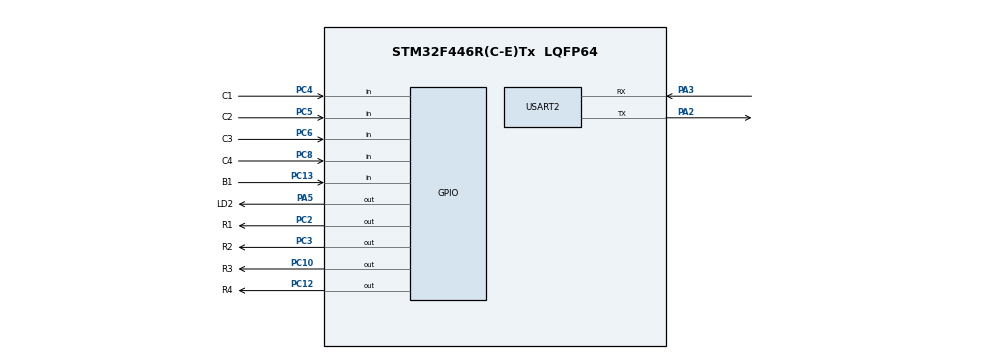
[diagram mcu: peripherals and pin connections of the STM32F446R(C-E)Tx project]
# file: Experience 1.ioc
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Mcu.Family=STM32F4
Mcu.Name=STM32F446R(C-E)Tx
Mcu.Package=LQFP64
NVIC.PriorityGroup=NVIC_PRIORITYGROUP_4
PA2.Mode=Asynchronous
PA2.Signal=USART2_TX
PA3.Mode=Asynchronous
PA3.Signal=USART2_RX
PA5.GPIO_Label=LD2
PA5.Signal=GPIO_Output
PC10.GPIO_Label=R3
PC10.Signal=GPIO_Output
PC12.GPIO_Label=R4
PC12.Signal=GPIO_Output
PC13.GPIO_Label=B1
PC13.Signal=GPIO_Input
PC2.GPIO_Label=R1
PC2.Signal=GPIO_Output
PC3.GPIO_Label=R2
PC3.Signal=GPIO_Output
PC4.GPIO_Label=C1
PC4.GPIO_PuPd=GPIO_PULLUP
PC4.Signal=GPIO_Input
PC5.GPIO_Label=C2
PC5.GPIO_PuPd=GPIO_PULLUP
PC5.Signal=GPIO_Input
PC6.GPIO_Label=C3
PC6.GPIO_PuPd=GPIO_PULLUP
PC6.Signal=GPIO_Input
PC8.GPIO_Label=C4
PC8.GPIO_PuPd=GPIO_PULLUP
PC8.Signal=GPIO_Input
ProjectManager.HeapSize=0x200
ProjectManager.StackSize=0x400
ProjectManager.TargetToolchain=MDK-ARM V5.32
RCC.CortexFreq_Value=16000000
RCC.USBFreq_Value=96000000
RCC.VCOOutputFreq_Value=192000000
USART2.VirtualMode=VM_ASYNC
board=custom

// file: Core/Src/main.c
/* USER CODE BEGIN Header */
/**
 ******************************************************************************
 * @file           : main.c
 * @brief          : Main program body
 ******************************************************************************
 * @attention
 *
 * Copyright (c) 2024 STMicroelectronics.
 * All rights reserved.
 *
 * This software is licensed under terms that can be found in the LICENSE file
 * in the root directory of this software component.
 * If no LICENSE file comes with this software, it is provided AS-IS.
 *
 ******************************************************************************
 */
/* USER CODE END Header */
#include "main.h"
#include "gpio.h"
#include "usart.h"

/* USER CODE BEGIN Includes */
#include "stdio.h"
/* USER CODE END Includes */

/* USER CODE BEGIN PTD */
// order matters here
enum Button {
  B1 = 0,
  B2,
  B3,
  BA,
  B4,
  B5,
  B6,
  BB,
  B7,
  B8,
  B9,
  BC,
  BSTAR,
  B0,
  BDASH,
  BD
};
/* USER CODE END PTD */

void SystemClock_Config(void);

/* USER CODE BEGIN 0 */
void selectRow(int r) {
  if (r == 1)
    HAL_GPIO_WritePin(R1_GPIO_Port, R1_Pin, GPIO_PIN_RESET);
  else
    HAL_GPIO_WritePin(R1_GPIO_Port, R1_Pin, GPIO_PIN_SET);
  if (r == 2)
    HAL_GPIO_WritePin(R2_GPIO_Port, R2_Pin, GPIO_PIN_RESET);
  else
    HAL_GPIO_WritePin(R2_GPIO_Port, R2_Pin, GPIO_PIN_SET);
  if (r == 3)
    HAL_GPIO_WritePin(R3_GPIO_Port, R3_Pin, GPIO_PIN_RESET);
  else
    HAL_GPIO_WritePin(R3_GPIO_Port, R3_Pin, GPIO_PIN_SET);
  if (r == 4)
    HAL_GPIO_WritePin(R4_GPIO_Port, R4_Pin, GPIO_PIN_RESET);
  else
    HAL_GPIO_WritePin(R4_GPIO_Port, R4_Pin, GPIO_PIN_SET);
}

char readCol() {
  int result = 0;
  if (HAL_GPIO_ReadPin(C1_GPIO_Port, C1_Pin) == GPIO_PIN_RESET)
    result += 1;
  if (HAL_GPIO_ReadPin(C2_GPIO_Port, C2_Pin) == GPIO_PIN_RESET)
    result += 4;
  if (HAL_GPIO_ReadPin(C3_GPIO_Port, C3_Pin) == GPIO_PIN_RESET)
    result += 16;
  if (HAL_GPIO_ReadPin(C4_GPIO_Port, C4_Pin) == GPIO_PIN_RESET)
    result += 64;
  return result;
}

unsigned int poll_keyboard_state(unsigned int prev_state) {
  prev_state &= 0x55555555;
  prev_state <<= 1;
  unsigned int state = 0;
  for (int i = 4; i != 0; i--) {
    selectRow(4);
    HAL_Delay(10);
    state <<= 8;
    state |= readCol();
  }
  return state | prev_state;
}

char get_button(enum Button b, unsigned int k_state) {
  unsigned int mask = 1;
  mask <<= (b * 2);
  return ((k_state & mask) != 0);
}

char get_button_held(enum Button b, unsigned int k_state) {
  unsigned int mask = 0b11;
  mask <<= (b * 2);
  return ((k_state & mask) != 0);
}

char get_button_up(enum Button b, unsigned int k_state) {
  k_state ^= 0x55555555;
  unsigned int mask = 0b10;
  mask <<= (b * 2);
  return ((k_state & mask) != 0);
}

char get_button_down(enum Button b, unsigned int k_state) {
  k_state ^= 0xAAAAAAAA;
  unsigned int mask = 1;
  mask <<= (b * 2);
  return ((k_state & mask) != 0);
}

int fputc(int ch, FILE *f) {
  HAL_UART_Transmit(&huart2, (uint8_t *)&ch, 1, 0xFFFF);
  return ch;
}
/* USER CODE END 0 */

int main(void) {

  /* MCU Configuration--------------------------------------------------------*/

  /* Reset of all peripherals, Initializes the Flash interface and the Systick.
   */
  HAL_Init();

  /* Configure the system clock */
  SystemClock_Config();

  /* Initialize all configured peripherals */
  MX_GPIO_Init();
  MX_USART2_UART_Init();

  /* Infinite loop */
  while (1) {
    selectRow(1);
    HAL_Delay(10);
    int row1 = readCol();
    printf("Row 1 : %x\r\n", row1);
    selectRow(2);
    HAL_Delay(10);
    int row2 = readCol();
    printf("Row 2 : %x\r\n", row2);
    selectRow(3);
    HAL_Delay(10);
    int row3 = readCol();
    printf("Row 3 : %x\r\n", row3);
    selectRow(4);
    HAL_Delay(10);
    int row4 = readCol();
    printf("Row 4 : %x\r\n", row4);
    HAL_Delay(1000);
  }
}

void SystemClock_Config(void) {
  RCC_OscInitTypeDef RCC_OscInitStruct = {0};
  RCC_ClkInitTypeDef RCC_ClkInitStruct = {0};

  /** Configure the main internal regulator output voltage
   */
  __HAL_RCC_PWR_CLK_ENABLE();
  __HAL_PWR_VOLTAGESCALING_CONFIG(PWR_REGULATOR_VOLTAGE_SCALE3);

  /** Initializes the RCC Oscillators according to the specified parameters
   * in the RCC_OscInitTypeDef structure.
   */
  RCC_OscInitStruct.OscillatorType = RCC_OSCILLATORTYPE_HSI;
  RCC_OscInitStruct.HSIState = RCC_HSI_ON;
  RCC_OscInitStruct.HSICalibrationValue = RCC_HSICALIBRATION_DEFAULT;
  RCC_OscInitStruct.PLL.PLLState = RCC_PLL_NONE;
  if (HAL_RCC_OscConfig(&RCC_OscInitStruct) != HAL_OK) {
    Error_Handler();
  }

  /** Initializes the CPU, AHB and APB buses clocks
   */
  RCC_ClkInitStruct.ClockType = RCC_CLOCKTYPE_HCLK | RCC_CLOCKTYPE_SYSCLK |
                                RCC_CLOCKTYPE_PCLK1 | RCC_CLOCKTYPE_PCLK2;
  RCC_ClkInitStruct.SYSCLKSource = RCC_SYSCLKSOURCE_HSI;
  RCC_ClkInitStruct.AHBCLKDivider = RCC_SYSCLK_DIV1;
  RCC_ClkInitStruct.APB1CLKDivider = RCC_HCLK_DIV1;
  RCC_ClkInitStruct.APB2CLKDivider = RCC_HCLK_DIV1;

  if (HAL_RCC_ClockConfig(&RCC_ClkInitStruct, FLASH_LATENCY_0) != HAL_OK) {
    Error_Handler();
  }
}

void Error_Handler(void) {
  __disable_irq();
  while (1) {
  }
}

#ifdef USE_FULL_ASSERT
/**
 * @brief  Reports the name of the source file and the source line number
 *         where the assert_param error has occurred.
 * @param  file: pointer to the source file name
 * @param  line: assert_param error line source number
 * @retval None
 */
void assert_failed(uint8_t *file, uint32_t line) {
  /* USER CODE BEGIN 6 */
  /* User can add his own implementation to report the file name and line
     number,
     ex: printf("Wrong parameters value: file %s on line %d\r\n", file, line) */
  /* USER CODE END 6 */
}
#endif /* USE_FULL_ASSERT */
